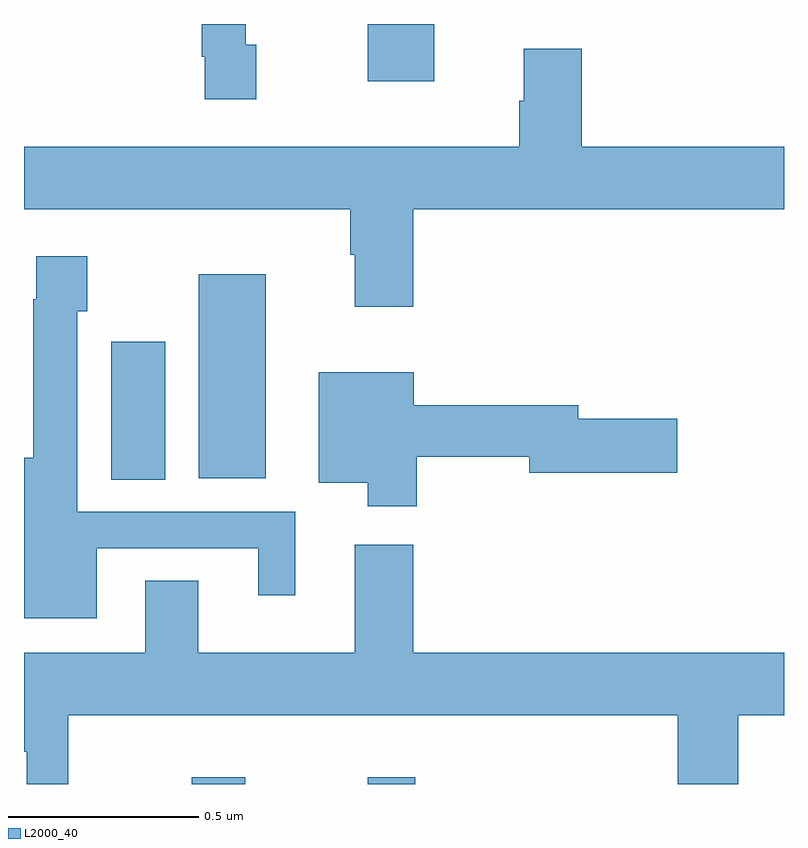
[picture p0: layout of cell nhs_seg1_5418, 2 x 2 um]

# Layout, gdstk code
import gdstk
lib = gdstk.Library(unit=1e-6, precision=1e-09)
def R(c, l, rs):  # rectangles x0, y0, x1, y1
    for r in rs: c.add(gdstk.rectangle(r[:2], r[2:], *l))
def P(c, l, *ps):  # polygons
    for p in ps: c.add(gdstk.Polygon(p, *l))
L2000_40 = (2000, 40)

nhs_seg1_5418 = lib.new_cell('nhs_seg1_5418')
R(nhs_seg1_5418, L2000_40, [(178.441,570.199,178.582,570.217), (178.904,570.199,179.029,570.217), (178.229,571,178.372,571.363), (178.46,571.004,178.636,571.54), (178.904,572.048,179.08,572.199)])
P(nhs_seg1_5418, L2000_40, [(178.611,572.145),(178.584,572.145),(178.584,572.199),(178.468,572.199),(178.468,572.113),(178.476,572.113),(178.476,572.001),(178.611,572.001)],
  [(179.024,571.712),(180,571.712),(180,571.876),(179.468,571.876),(179.468,572.134),(179.315,572.134),(179.315,571.997),(179.303,571.997),(179.303,571.876),(178,571.876),(178,571.712),(178.859,571.712),(178.859,571.592),(178.871,571.592),(178.871,571.455),(179.024,571.455)],
  [(178.192,570.819),(178.616,570.819),(178.616,570.696),(178.714,570.696),(178.714,570.915),(178.14,570.915),(178.14,571.443),(178.167,571.443),(178.167,571.588),(178.032,571.588),(178.032,571.475),(178.024,571.475),(178.024,571.057),(178,571.057),(178,570.635),(178.192,570.635)],
  [(179.034,571.06),(179.33,571.06),(179.33,571.018),(179.719,571.018),(179.719,571.16),(179.458,571.16),(179.458,571.196),(179.026,571.196),(179.026,571.282),(178.775,571.282),(178.775,570.992),(178.904,570.992),(178.904,570.93),(179.034,570.93)],
  [(178.871,570.829),(178.871,570.544),(178.459,570.544),(178.459,570.734),(178.319,570.734),(178.319,570.544),(178,570.544),(178,570.284),(178.007,570.284),(178.007,570.199),(178.117,570.199),(178.117,570.38),(179.72,570.38),(179.72,570.199),(179.88,570.199),(179.88,570.38),(180,570.38),(180,570.544),(179.024,570.544),(179.024,570.829)])

lib.write_gds('nhs_seg1_5418.gds')
